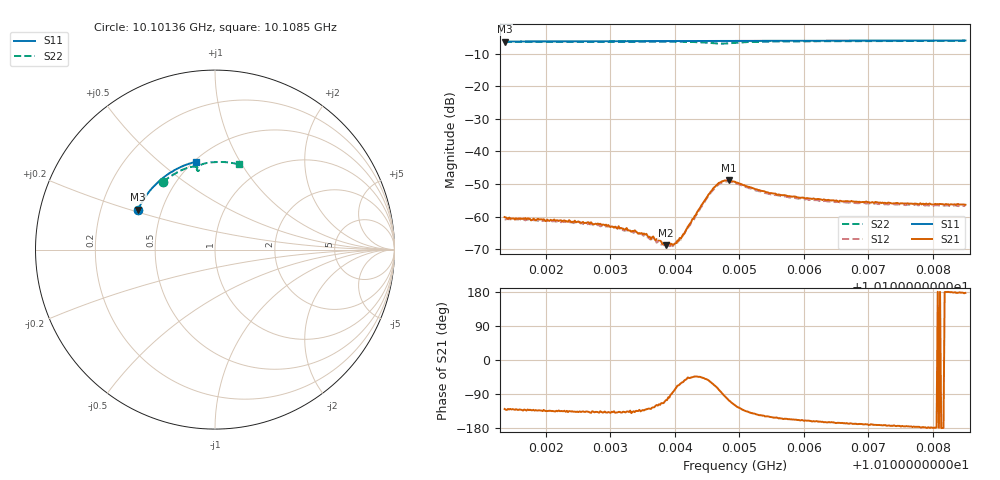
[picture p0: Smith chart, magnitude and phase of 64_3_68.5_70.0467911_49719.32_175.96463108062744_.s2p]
#  HZ  S  RI  R  50.00
! Rohde & Schwarz Vector Network Analyzer
! Rohde-Schwarz,ZNB20-2Port,1311601062101988,3.16
! Created: UTC 3/20/2024, 5:06:38 PM
! freq[Hz]  re:S11  im:S11  re:S21  im:S21  re:S12  im:S12  re:S22  im:S22
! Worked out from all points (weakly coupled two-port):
!   401 points, 10.10136 GHz to 10.1085 GHz, reference 50 ohm
!   highest |S21| = -48.90 dB at 10.10484 GHz (marker M1); lowest = -68.8 dB at 10.10386 GHz (marker M2)
!   lowest |S11| = -6.3 dB at 10.10136 GHz (marker M3), VSWR 2.87, Z = 18.4 + j10.7 ohm
!   |S11| at or under -10 dB: nowhere
!   |S22| runs from -7.0 to -6.1 dB; largest |S21 - S12| = 0.00038
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1.010136e10  -0.4281 0.2232  -0.000623 -0.000761  -0.000555 -0.000707  -0.2886 0.3777
1.0101753e10  -0.4176 0.2447  -0.000606 -0.000691  -0.000542 -0.000739  -0.2687 0.3936
1.0102557e10  -0.3929 0.287  -0.000586 -0.000556  -0.000519 -0.000606  -0.225 0.4225
1.0102932e10  -0.3799 0.3058  -0.000563 -0.0005  -0.000455 -0.000542  -0.2032 0.4345
1.0103075e10  -0.3749 0.3128  -0.000532 -0.000458  -0.00047 -0.000508  -0.1947 0.4388
1.0103289e10  -0.3668 0.3229  -0.000451 -0.000417  -0.000429 -0.00045  -0.1815 0.4446
1.0103521e10  -0.3579 0.3339  -0.000376 -0.000402  -0.000299 -0.000406  -0.1667 0.4507
1.0103753e10  -0.3487 0.3445  -0.000199 -0.00039  -0.000163 -0.000374  -0.1509 0.456
1.010386e10  -0.3442 0.3493  -0.0001 -0.000348  -5.14e-05 -0.000387  -0.1435 0.4583
1.010395e10  -0.3406 0.3532  6.01e-06 -0.000383  6.08e-05 -0.00036  -0.1369 0.4597
1.0104003e10  -0.3383 0.3556  8.7e-05 -0.000379  0.000113 -0.000376  -0.1328 0.4606
1.0104075e10  -0.3354 0.3588  0.000203 -0.000425  0.000232 -0.000375  -0.1274 0.4615
1.0104128e10  -0.333 0.3612  0.000283 -0.000455  0.000323 -0.000407  -0.1231 0.4619
1.0104378e10  -0.3221 0.3717  0.000938 -0.000914  0.000958 -0.000797  -0.1016 0.4598
1.0104593e10  -0.3124 0.3804  0.0012 -0.00241  0.00134 -0.00218  -0.0885 0.4462
1.0104717e10  -0.307 0.3852  0.000299 -0.00338  0.000587 -0.0032  -0.0932 0.4384
1.0104842e10  -0.3013 0.3902  -0.00108 -0.00342  -0.000711 -0.00336  -0.1006 0.4429
1.0104932e10  -0.2972 0.3935  -0.0017 -0.00296  -0.00136 -0.00295  -0.1011 0.4506
1.010545e10  -0.2723 0.4129  -0.002 -0.0012  -0.00181 -0.00129  -0.0686 0.4766
1.0106128e10  -0.2382 0.4355  -0.00177 -0.00057  -0.00164 -0.000731  -0.0215 0.4862
1.0107325e10  -0.1734 0.4678  -0.00161 -0.000209  -0.00151 -0.000366  0.057 0.4871
1.0108503e10  -0.1056 0.4899  -0.00152 7.82e-05  -0.00145 -7.68e-05  0.1317 0.4752
